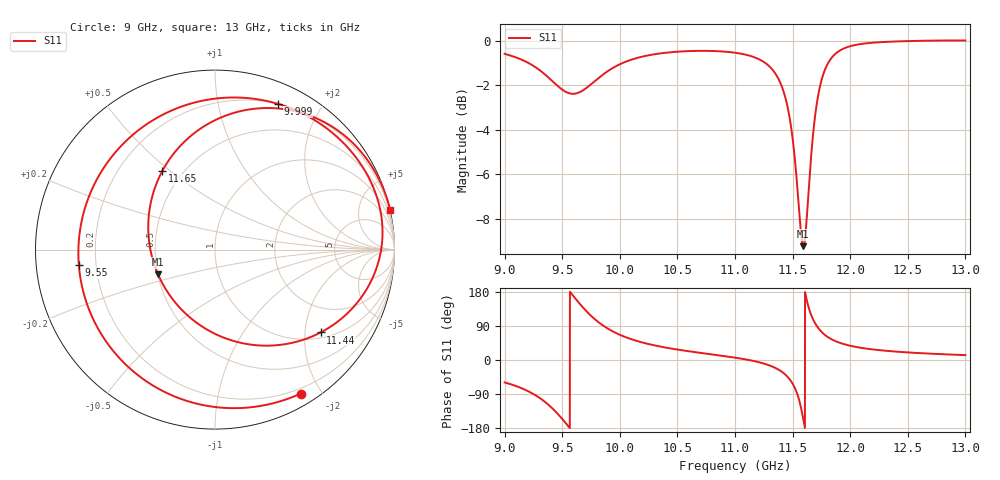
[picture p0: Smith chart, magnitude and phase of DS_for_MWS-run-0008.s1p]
! TOUCHSTONE file generated by CST DESIGN STUDIO
! Date and time: Tue Jan 28 13:43:20 2025
! Project name: C:\Work\MatlabApps\UnitCellOptimizationMatlab\CST\unitcell.cst
! Tree item: Tasks\Sweep1\SPara1\S-Parameters
! Header version: 2024
! Port assignment regex: !\s*Touchstone port\s*([0-9]+)\s*=\s*(CST MWS port|CST DES external port|CST DES block port)\s*(.+)\s* \(\"(.*)\"\)(\s*mode\s*([0-9]+))?.*
! Touchstone port assignment:
! Touchstone port 1 = CST DES external port 1 ("")
# GHz S MA R 50
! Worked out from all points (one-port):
!   4001 points, 9 GHz to 13 GHz, reference 50 ohm
!   lowest |S11| = -9.2 dB at 11.59 GHz (marker M1), VSWR 2.06, Z = 25.1 - j7.8 ohm
!   |S11| at or under -10 dB: nowhere
!   S11 on the Smith chart (normalised r, x): 9 GHz: 0.14, -1.75; 9.55 GHz: 0.13, -0.05; 9.999 GHz: 0.20, +1.50; 11.44 GHz: 1.15, -2.42; 11.65 GHz: 0.39, +0.47; 13 GHz: -0.01, +8.86
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9  0.9337 -59.2
9.156  0.9039 -75.5
9.306  0.8575 -100.5
9.405  0.8154 -124.9
9.5  0.7764 -155.4
9.55  0.7635 -173.7
9.64  0.7638 152.7
9.758  0.8012 114.5
9.862  0.8421 89.4
9.999  0.8844 66.7
10  0.8847 66.6
10.213  0.9225 44.8
10.5  0.944 27.5
11  0.939 6.3
11.284  0.8819 -12.7
11.369  0.8281 -23.9
11.435  0.7483 -38.1
11.5  0.6038 -62.4
11.548  0.4448 -96.6
11.593  0.3462 -156.7
11.623  0.401 157.9
11.655  0.5268 123.9
11.701  0.696 94.0
11.754  0.8203 73.4
11.857  0.9261 51.9
12  0.9711 37.6
12.5  0.9971 20.0
13  1 12.9
